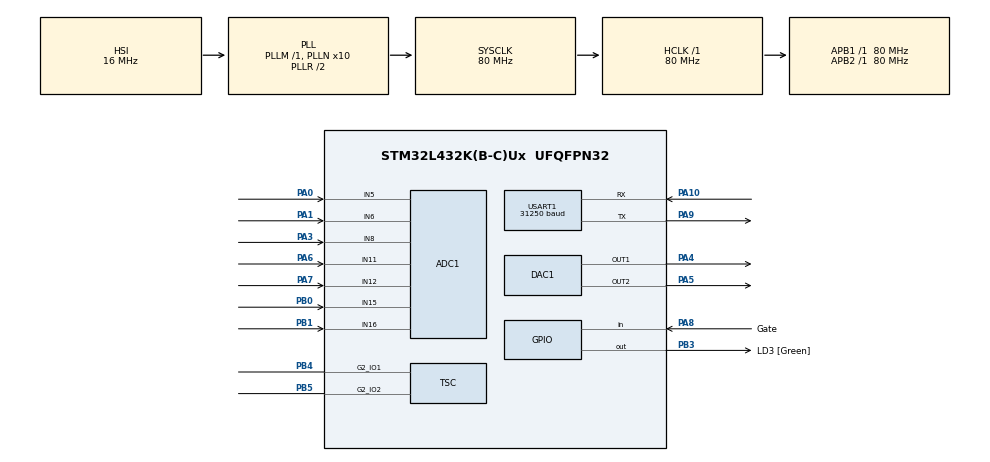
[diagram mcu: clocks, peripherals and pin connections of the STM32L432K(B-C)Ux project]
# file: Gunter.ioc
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ADC1.Channel-0\#ChannelRegularConversion=ADC_CHANNEL_5
ADC1.Channel-1\#ChannelRegularConversion=ADC_CHANNEL_6
ADC1.Channel-2\#ChannelRegularConversion=ADC_CHANNEL_8
ADC1.Channel-3\#ChannelRegularConversion=ADC_CHANNEL_11
ADC1.Channel-4\#ChannelRegularConversion=ADC_CHANNEL_12
ADC1.Channel-5\#ChannelRegularConversion=ADC_CHANNEL_15
ADC1.Channel-6\#ChannelRegularConversion=ADC_CHANNEL_16
ADC1.ClockPrescaler=ADC_CLOCK_ASYNC_DIV1
ADC1.ContinuousConvMode=ENABLE
ADC1.DMAContinuousRequests=ENABLE
ADC1.EOCSelection=ADC_EOC_SEQ_CONV
ADC1.NbrOfConversion=7
ADC1.NbrOfConversionFlag=1
ADC1.OffsetNumber-0\#ChannelRegularConversion=ADC_OFFSET_NONE
ADC1.OffsetNumber-1\#ChannelRegularConversion=ADC_OFFSET_NONE
ADC1.OffsetNumber-2\#ChannelRegularConversion=ADC_OFFSET_NONE
ADC1.OffsetNumber-3\#ChannelRegularConversion=ADC_OFFSET_NONE
ADC1.OffsetNumber-4\#ChannelRegularConversion=ADC_OFFSET_NONE
ADC1.OffsetNumber-5\#ChannelRegularConversion=ADC_OFFSET_NONE
ADC1.OffsetNumber-6\#ChannelRegularConversion=ADC_OFFSET_NONE
ADC1.Overrun=ADC_OVR_DATA_OVERWRITTEN
ADC1.OversamplingMode=ENABLE
ADC1.Rank-0\#ChannelRegularConversion=1
ADC1.Rank-1\#ChannelRegularConversion=2
ADC1.Rank-2\#ChannelRegularConversion=3
ADC1.Rank-3\#ChannelRegularConversion=4
ADC1.Rank-4\#ChannelRegularConversion=5
ADC1.Rank-5\#ChannelRegularConversion=6
ADC1.Rank-6\#ChannelRegularConversion=7
ADC1.Ratio=ADC_OVERSAMPLING_RATIO_256
ADC1.RightBitShift=ADC_RIGHTBITSHIFT_8
ADC1.SamplingTime-0\#ChannelRegularConversion=ADC_SAMPLETIME_640CYCLES_5
ADC1.SamplingTime-1\#ChannelRegularConversion=ADC_SAMPLETIME_640CYCLES_5
ADC1.SamplingTime-2\#ChannelRegularConversion=ADC_SAMPLETIME_640CYCLES_5
ADC1.SamplingTime-3\#ChannelRegularConversion=ADC_SAMPLETIME_640CYCLES_5
ADC1.SamplingTime-4\#ChannelRegularConversion=ADC_SAMPLETIME_640CYCLES_5
ADC1.SamplingTime-5\#ChannelRegularConversion=ADC_SAMPLETIME_640CYCLES_5
ADC1.SamplingTime-6\#ChannelRegularConversion=ADC_SAMPLETIME_640CYCLES_5
ADC1.master=1
DAC1.DAC_Channel-DAC_OUT2=DAC_CHANNEL_2
DAC1.DAC_Trigger-DAC_OUT1=DAC_TRIGGER_T6_TRGO
DAC1.DAC_Trigger-DAC_OUT2=DAC_TRIGGER_T7_TRGO
Dma.ADC1.0.Direction=DMA_PERIPH_TO_MEMORY
Dma.ADC1.0.Instance=DMA1_Channel1
Dma.ADC1.0.MemDataAlignment=DMA_MDATAALIGN_HALFWORD
Dma.ADC1.0.MemInc=DMA_MINC_ENABLE
Dma.ADC1.0.Mode=DMA_CIRCULAR
Dma.ADC1.0.PeriphDataAlignment=DMA_PDATAALIGN_HALFWORD
Dma.ADC1.0.PeriphInc=DMA_PINC_DISABLE
Dma.ADC1.0.Priority=DMA_PRIORITY_LOW
Dma.Request0=ADC1
Mcu.Family=STM32L4
Mcu.Name=STM32L432K(B-C)Ux
Mcu.Package=UFQFPN32
NVIC.ADC1_IRQn=true\:0\:0\:false\:false\:true\:true\:true\:true
NVIC.DMA1_Channel1_IRQn=true\:0\:0\:false\:false\:true\:false\:true\:true
NVIC.PriorityGroup=NVIC_PRIORITYGROUP_4
NVIC.TIM6_DAC_IRQn=true\:0\:0\:false\:false\:true\:true\:true\:true
NVIC.TIM7_IRQn=true\:0\:0\:false\:false\:true\:true\:true\:true
NVIC.USART1_IRQn=true\:0\:0\:false\:false\:true\:true\:true\:true
PA0.Signal=ADCx_IN5
PA1.Signal=ADCx_IN6
PA10.Mode=Asynchronous
PA10.Signal=USART1_RX
PA13\ (JTMS-SWDIO).GPIO_Label=SWDIO
PA13\ (JTMS-SWDIO).Mode=Serial_Wire
PA13\ (JTMS-SWDIO).Signal=SYS_JTMS-SWDIO
PA14\ (JTCK-SWCLK).GPIO_Label=SWCLK
PA14\ (JTCK-SWCLK).Mode=Serial_Wire
PA14\ (JTCK-SWCLK).Signal=SYS_JTCK-SWCLK
PA3.Signal=ADCx_IN8
PA4.Signal=COMP_DAC11_group
PA5.Signal=COMP_DAC12_group
PA6.Signal=ADCx_IN11
PA7.Signal=ADCx_IN12
PA8.GPIO_Label=Gate
PA8.GPIO_PuPd=GPIO_PULLUP
PA8.Signal=GPIO_Input
PA9.Mode=Asynchronous
PA9.Signal=USART1_TX
PB0.Signal=ADCx_IN15
PB1.Signal=ADCx_IN16
PB3\ (JTDO-TRACESWO).GPIO_Label=LD3 [Green]
PB3\ (JTDO-TRACESWO).Signal=GPIO_Output
PB4\ (NJTRST).Mode=G2_IO1-Sampling
PB4\ (NJTRST).Signal=TSC_G2_IO1
PB5.Mode=G2_IO2-Channel
PB5.Signal=TSC_G2_IO2
PC14-OSC32_IN\ (PC14).Mode=LSE-External-Oscillator
PC14-OSC32_IN\ (PC14).Signal=RCC_OSC32_IN
PC15-OSC32_OUT\ (PC15).Mode=LSE-External-Oscillator
PC15-OSC32_OUT\ (PC15).Signal=RCC_OSC32_OUT
ProjectManager.HeapSize=0x200
ProjectManager.StackSize=0x400
ProjectManager.TargetToolchain=STM32CubeIDE
RCC.ADCFreq_Value=48000000
RCC.AHBFreq_Value=80000000
RCC.APB1Freq_Value=80000000
RCC.APB1TimFreq_Value=80000000
RCC.APB2Freq_Value=80000000
RCC.APB2TimFreq_Value=80000000
RCC.CortexFreq_Value=80000000
RCC.HCLKFreq_Value=80000000
RCC.HSE_VALUE=8000000
RCC.HSI16_VALUE=16000000
RCC.HSI48_VALUE=48000000
RCC.HSI_VALUE=16000000
RCC.MSI_VALUE=4000000
RCC.PLLMUL=RCC_PLLMUL_4
RCC.PLLN=10
RCC.PLLSAI1N=12
RCC.PLLSAI1Q=RCC_PLLQ_DIV4
RCC.PLLSAI1R=RCC_PLLR_DIV4
RCC.PLLSourceVirtual=RCC_PLLSOURCE_HSI
RCC.RCC_MCO1Source=RCC_MCO1SOURCE_HSE
RCC.RCC_MCODiv=RCC_MCODIV_16
RCC.SYSCLKFreq_VALUE=80000000
RCC.SYSCLKSource=RCC_SYSCLKSOURCE_PLLCLK
RCC.USBFreq_Value=48000000
RCC.VCOOutputFreq_Value=160000000
SH.ADCx_IN11.0=ADC1_IN11,IN11-Single-Ended
SH.ADCx_IN12.0=ADC1_IN12,IN12-Single-Ended
SH.ADCx_IN15.0=ADC1_IN15,IN15-Single-Ended
SH.ADCx_IN16.0=ADC1_IN16,IN16-Single-Ended
SH.ADCx_IN5.0=ADC1_IN5,IN5-Single-Ended
SH.ADCx_IN6.0=ADC1_IN6,IN6-Single-Ended
SH.ADCx_IN8.0=ADC1_IN8,IN8-Single-Ended
SH.COMP_DAC11_group.0=DAC1_OUT1,DAC_OUT1
SH.COMP_DAC12_group.0=DAC1_OUT2,DAC_OUT2
TIM6.Period=8000
TIM6.TIM_MasterOutputTrigger=TIM_TRGO_UPDATE
TIM7.Period=8000
TIM7.TIM_MasterOutputTrigger=TIM_TRGO_UPDATE
TOUCHSENSING.IO_TOUCHKEY_B1=G2_IO2
TOUCHSENSING.TSLPRM_SENSORS_DATAS=TSLPRM_TOTAL_TOUCHKEYS_B 1 1 
TOUCHSENSING.TSLPRM_TOTAL_TOUCHKEYS_B=1
TSC.ChannelIOs-G2_IO2=TSC_GROUP2_IO2
TSC.SamplingIOs=TSC_GROUP2_IO1
USART1.BaudRate=31250
USART1.VirtualMode-Asynchronous=VM_ASYNC
VP_IWDG_VS_IWDG.Mode=IWDG_Activate
VP_RNG_VS_RNG.Mode=RNG_Activate
VP_TIM6_VS_ClockSourceINT.Mode=Enable_Timer
VP_TIM7_VS_ClockSourceINT.Mode=Enable_Timer
VP_TOUCHSENSING_VS_TOUCHSENSING.Mode=TouchSensing_Enabled
board=NUCLEO-L432KC

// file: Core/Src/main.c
/* USER CODE BEGIN Header */
/**
 ******************************************************************************
 * @file           : main.c
 * @brief          : Main program body
 ******************************************************************************
 * @attention
 *
 * Copyright (c) 2022 STMicroelectronics.
 * All rights reserved.
 *
 * This software is licensed under terms that can be found in the LICENSE file
 * in the root directory of this software component.
 * If no LICENSE file comes with this software, it is provided AS-IS.
 *
 ******************************************************************************
 */
/* USER CODE END Header */
#include "main.h"
#include "touchsensing.h"

/* USER CODE BEGIN Includes */

#include "soundSamples.h"

/* USER CODE END Includes */

/* USER CODE BEGIN PD */

#define GUNTER_SAMPLING_MIN 1667
#define GUNTER_SAMPLING_DEFAULT 833
// 72 MHz / 750 = 96 kHz
// 720 = 100 kHz
// 1440 = 50 kHz

enum gunterStates {
	GUNTER_BOOT,
	GUNTER_OFF,
	GUNTER_WENK,
	GUNTER_SIN,
	GUNTER_SQUARE,
	GUNTER_TRIANGLE,
	GUNTER_SAW,
	GUNTER_NOISE,
	GUNTER_TOUCH,
	GUNTER_MIDI,
	GUNTER_CV,
	GUNTER_GATE
};

enum buttons {
	BUTTON_NONE = 0b00000000,
	BUTTON_B = 0b00000001,
	BUTTON_A = 0b00000010,
	BUTTON_RIGHT = 0b00000100,
	BUTTON_LEFT = 0b00001000,
	BUTTON_DOWN = 0b00010000,
	BUTTON_UP = 0b00100000
};

enum adcNames {
	ADC_KNOB_1 = 0,	// Function
	ADC_KNOB_2 = 1,
	ADC_CV = 2,		// Control Voltage
	ADC_POT_1 = 3,	// Frequency
	ADC_POT_2 = 4,	// Frequency Shift
	ADC_POT_3 = 5,	// Delay
	ADC_POT_4 = 6
};

enum knobInput {
	KNOB_1_MIN = 949,
	KNOB_1_MAX = 2093,
	KNOB_2_MIN = 2094,
	KNOB_2_MAX = 2265,
	KNOB_3_MIN = 2266,
	KNOB_3_MAX = 2468,
	KNOB_4_MIN = 2469,
	KNOB_4_MAX = 2693,
	KNOB_5_MIN = 2711,
	KNOB_5_MAX = 2985,
	KNOB_6_MIN = 3006,
	KNOB_6_MAX = 3340,
	KNOB_7_MIN = 3375,
	KNOB_7_MAX = 3787,
	KNOB_8_MIN = 3833,
	KNOB_8_MAX = 0xfff
};

/* USER CODE END PD */

ADC_HandleTypeDef hadc1;
DMA_HandleTypeDef hdma_adc1;

DAC_HandleTypeDef hdac1;

IWDG_HandleTypeDef hiwdg;

RNG_HandleTypeDef hrng;

TIM_HandleTypeDef htim6;
TIM_HandleTypeDef htim7;

TSC_HandleTypeDef htsc;

UART_HandleTypeDef huart1;

/* USER CODE BEGIN PV */

const uint16_t sinTable[SIN_TABLE] = { SIN_TABLE_CONTENT };
const uint16_t wenkTable[WENK_TABLE] = { WENK_TABLE_CONTENT };

volatile uint16_t adcBuffer[7] = {0, 0, 0, 0, 0, 0, 0};
volatile uint8_t gunterState = GUNTER_OFF;
volatile uint8_t gunterADCReady = 0;
volatile uint32_t gunterSampling[2] = {GUNTER_SAMPLING_MIN, GUNTER_SAMPLING_MIN};
volatile float gunterShift = 1.0f;
volatile int16_t gunterDistortion = 0;
volatile float gunterClipping = 1.0f;
volatile int16_t gunterDiminish = 0;
volatile float gunterPercussion = 1.0f;
volatile int32_t gunterEighth = 0;
volatile int16_t gunterPeriod = 1000;
volatile int16_t gunterSamplePeriod = 1000;
volatile float gunterPeriod1000 = 0xfff / 1000;
volatile float gunterPeriod2000 = 0x1fff / 1000;
volatile uint16_t gunterPeriodShift = 1000;
volatile float gunterPeriodShift1000 = 0xfff / 1000;
volatile float gunterPeriodShift2000 = 0x1fff / 1000;
volatile uint16_t gunterTempPeriod = 1000;
volatile uint16_t gunterDivision = 1;
volatile uint16_t gunterTempDivision = 1;

/* USER CODE END PV */

void SystemClock_Config(void);
void PeriphCommonClock_Config(void);
static void MX_GPIO_Init(void);
static void MX_DMA_Init(void);
static void MX_DAC1_Init(void);
static void MX_ADC1_Init(void);
static void MX_RNG_Init(void);
static void MX_TSC_Init(void);
static void MX_TIM7_Init(void);
static void MX_USART1_UART_Init(void);
static void MX_TIM6_Init(void);
static void MX_IWDG_Init(void);
/* USER CODE BEGIN PFP */

void HAL_TIM_PeriodElapsedCallback(TIM_HandleTypeDef *htim);
void HAL_ADC_ConvCpltCallback(ADC_HandleTypeDef* hadc);

/* USER CODE END PFP */

int main(void)
{
  /* USER CODE BEGIN 1 */
	//HAL_GPIO_WritePin(LD3_GPIO_Port, LD3_Pin, GPIO_PIN_SET);
  /* USER CODE END 1 */

  /* MCU Configuration--------------------------------------------------------*/

  /* Reset of all peripherals, Initializes the Flash interface and the Systick. */
  HAL_Init();

  /* Configure the system clock */
  SystemClock_Config();

/* Configure the peripherals common clocks */
  PeriphCommonClock_Config();

  /* Initialize all configured peripherals */
  MX_GPIO_Init();
  MX_DMA_Init();
  MX_DAC1_Init();
  MX_ADC1_Init();
  MX_RNG_Init();
  MX_TSC_Init();
  MX_TOUCHSENSING_Init();
  MX_TIM7_Init();
  MX_USART1_UART_Init();
  MX_TIM6_Init();
  MX_IWDG_Init();
  /* USER CODE BEGIN 2 */

	//HAL_GPIO_TogglePin(LD3_GPIO_Port, LD3_Pin);
	HAL_DACEx_DualSetValue(&hdac1, DAC_ALIGN_12B_R, 0x000, 0x000);
	HAL_DAC_Start(&hdac1, DAC_CHANNEL_1);
	HAL_DAC_Start(&hdac1, DAC_CHANNEL_2);
	HAL_TIM_Base_Start_IT(&htim6);
	HAL_TIM_Base_Start_IT(&htim7);
	//HAL_GPIO_TogglePin(LD3_GPIO_Port, LD3_Pin);
	HAL_ADC_Start_DMA(&hadc1, adcBuffer, 7);
	//HAL_GPIO_TogglePin(LD3_GPIO_Port, LD3_Pin);

  /* USER CODE END 2 */

  /* Infinite loop */
  /* USER CODE BEGIN WHILE */
	while (1)
	{
		if (gunterADCReady) {
			gunterADCReady = 0;

			HAL_IWDG_Refresh(&hiwdg);

			if (adcBuffer[ADC_KNOB_1] <= KNOB_1_MAX && adcBuffer[ADC_KNOB_1] >= KNOB_1_MIN) {
				gunterState = GUNTER_OFF;
			}
			else if (adcBuffer[ADC_KNOB_1] <= KNOB_2_MAX && adcBuffer[ADC_KNOB_1] >= KNOB_2_MIN) {
				gunterState = GUNTER_WENK;
			}
			else if (adcBuffer[ADC_KNOB_1] <= KNOB_3_MAX && adcBuffer[ADC_KNOB_1] >= KNOB_3_MIN) {
				gunterState = GUNTER_SIN;
			}
			else if (adcBuffer[ADC_KNOB_1] <= KNOB_4_MAX && adcBuffer[ADC_KNOB_1] >= KNOB_4_MIN) {
				gunterState = GUNTER_TRIANGLE;
			}
			else if (adcBuffer[ADC_KNOB_1] <= KNOB_5_MAX && adcBuffer[ADC_KNOB_1] >= KNOB_5_MIN) {
				gunterState = GUNTER_SQUARE;
			}
			else if (adcBuffer[ADC_KNOB_1] <= KNOB_6_MAX && adcBuffer[ADC_KNOB_1] >= KNOB_6_MIN) {
				gunterState = GUNTER_SAW;
			}
			else if (adcBuffer[ADC_KNOB_1] <= KNOB_7_MAX && adcBuffer[ADC_KNOB_1] >= KNOB_7_MIN) {
				gunterState = GUNTER_NOISE;
			}
			else if (adcBuffer[ADC_KNOB_1] <= KNOB_8_MAX && adcBuffer[ADC_KNOB_1] >= KNOB_8_MIN) {
				gunterState = GUNTER_MIDI;
			}

			if (HAL_GPIO_ReadPin(Gate_GPIO_Port, Gate_Pin) == GPIO_PIN_RESET) {
				gunterState = GUNTER_GATE;
			}

			if (adcBuffer[ADC_CV] > 0xeff) {
				gunterPeriod = (0xfc4 - adcBuffer[ADC_POT_1]); // TODO: Skalowanie?
				gunterSamplePeriod = adcBuffer[ADC_POT_1];
			} else {
				gunterPeriod = (0xfc4 - adcBuffer[ADC_POT_1]) - adcBuffer[ADC_CV];
				gunterSamplePeriod = adcBuffer[ADC_POT_1] - adcBuffer[ADC_CV];
			}

			if (gunterPeriod < 3) gunterPeriod = 3;
			if (gunterSamplePeriod < 0) gunterSamplePeriod = 0;
			//gunterPeriod = 2;
			gunterPeriod1000 = 4096.0f / gunterPeriod;
			gunterPeriod2000 = 8192.0f / gunterPeriod;

			if (adcBuffer[ADC_POT_2] > 0x8ff) {
				gunterShift = ((0x10ff - adcBuffer[ADC_POT_2]) / 4096.0f) + 0.5f; // 0.5625 - 1.0
			}
			else if (adcBuffer[ADC_POT_2] < 0x700) {
				gunterShift = ((0xf00 - adcBuffer[ADC_POT_2]) / 4096.0f) + 0.5f; // 1.0 - 1.4375
			}
			else {
				gunterShift = 1.0f;
			}
			//gunterShift = 1.0f;

			gunterPeriodShift = gunterPeriod * gunterShift;
			gunterPeriodShift1000 = 4096.0f / gunterPeriodShift;
			gunterPeriodShift2000 = 8192.0f / gunterPeriodShift;

			if (adcBuffer[ADC_POT_3] > 0x8ff) {
				gunterDistortion = adcBuffer[ADC_POT_3] - 0x8ff;
			}
			else if (adcBuffer[ADC_POT_3] < 0x700) {
				gunterDistortion = adcBuffer[ADC_POT_3] - 0x700;
			}
			else {
				gunterDistortion = 0;
			}
			//gunterDistortion = 0;

			gunterClipping = -(gunterDistortion*0.01f) + 1.0f;

			if (adcBuffer[ADC_POT_4] > 0x8ff) {
				gunterDiminish = adcBuffer[ADC_POT_4] - 0x8ff;
			}
			else if (adcBuffer[ADC_POT_4] < 0x700) {
				gunterDiminish = adcBuffer[ADC_POT_4] - 0x700;
			}
			else {
				gunterDiminish = 0;
			}
			//gunterDiminish = adcBuffer[ADC_POT_2] - 0x7ff;
			if (gunterDiminish < 0) {
				gunterPercussion = 1.0f + (gunterDiminish*0.0000005f);
				gunterEighth = 0;
			}
			else if (gunterDiminish > 0){
				gunterPercussion = 1.0f;
				gunterEighth = (0x6ff - gunterDiminish) << 4;
			}
			else {
				gunterPercussion = 1.0f;
				gunterEighth = 0;
			}

			/*
			 *  BLOK MARGARYNOWY
			 */
			if (gunterState == GUNTER_WENK) {
				if (gunterSamplePeriod > 0x7ff) {
					gunterTempDivision = 1024;
					gunterSampling[0] = (0x800 - (gunterSamplePeriod - 0x7ff)) * (GUNTER_SAMPLING_DEFAULT) * gunterTempDivision;
					gunterSampling[0] /= 0x800;
					while (gunterSampling[0] >= GUNTER_SAMPLING_MIN*2) {
						gunterSampling[0] /= 2;
						gunterTempDivision /= 2;
					}
				} else {
					gunterTempDivision = 2;
					gunterSampling[0] = (GUNTER_SAMPLING_DEFAULT + ((0x7ff - gunterSamplePeriod) * (0x7ff - gunterSamplePeriod) / 256)) * gunterTempDivision;
					if (gunterSampling[0] >= GUNTER_SAMPLING_MIN*2) {
						gunterSampling[0] /= 2;
						gunterTempDivision /= 2;
					}
				}
				gunterSampling[1] = gunterSampling[0] * gunterShift;
			}
			else if (gunterState == GUNTER_SIN) {
				gunterTempDivision = 1024;
				gunterSampling[0] = (0x1000 - gunterSamplePeriod) * GUNTER_SAMPLING_DEFAULT * gunterTempDivision;
				gunterSampling[0] /= 0x5800;
				while (gunterSampling[0] >= GUNTER_SAMPLING_MIN*2) {
					gunterSampling[0] /= 2;
					gunterTempDivision /= 2;
				}
				gunterSampling[1] = gunterSampling[0] * gunterShift;
			} else {
				gunterTempDivision = 1;
				gunterSampling[0] = GUNTER_SAMPLING_MIN;
				gunterSampling[1] = GUNTER_SAMPLING_MIN;
			}

			gunterDivision = gunterTempDivision;
			__HAL_TIM_SET_AUTORELOAD(&htim6, gunterSampling[0]);
			__HAL_TIM_SET_AUTORELOAD(&htim7, gunterSampling[1]);

			//HAL_GPIO_TogglePin(LD3_GPIO_Port, LD3_Pin);
		}

    /* USER CODE END WHILE */

	}
}

void SystemClock_Config(void)
{
  RCC_OscInitTypeDef RCC_OscInitStruct = {0};
  RCC_ClkInitTypeDef RCC_ClkInitStruct = {0};

  /** Configure the main internal regulator output voltage
  */
  if (HAL_PWREx_ControlVoltageScaling(PWR_REGULATOR_VOLTAGE_SCALE1) != HAL_OK)
  {
    Error_Handler();
  }

  /** Initializes the RCC Oscillators according to the specified parameters
  * in the RCC_OscInitTypeDef structure.
  */
  RCC_OscInitStruct.OscillatorType = RCC_OSCILLATORTYPE_HSI|RCC_OSCILLATORTYPE_LSI;
  RCC_OscInitStruct.HSIState = RCC_HSI_ON;
  RCC_OscInitStruct.HSICalibrationValue = RCC_HSICALIBRATION_DEFAULT;
  RCC_OscInitStruct.LSIState = RCC_LSI_ON;
  RCC_OscInitStruct.PLL.PLLState = RCC_PLL_ON;
  RCC_OscInitStruct.PLL.PLLSource = RCC_PLLSOURCE_HSI;
  RCC_OscInitStruct.PLL.PLLM = 1;
  RCC_OscInitStruct.PLL.PLLN = 10;
  RCC_OscInitStruct.PLL.PLLP = RCC_PLLP_DIV7;
  RCC_OscInitStruct.PLL.PLLQ = RCC_PLLQ_DIV2;
  RCC_OscInitStruct.PLL.PLLR = RCC_PLLR_DIV2;
  if (HAL_RCC_OscConfig(&RCC_OscInitStruct) != HAL_OK)
  {
    Error_Handler();
  }

  /** Initializes the CPU, AHB and APB buses clocks
  */
  RCC_ClkInitStruct.ClockType = RCC_CLOCKTYPE_HCLK|RCC_CLOCKTYPE_SYSCLK
                              |RCC_CLOCKTYPE_PCLK1|RCC_CLOCKTYPE_PCLK2;
  RCC_ClkInitStruct.SYSCLKSource = RCC_SYSCLKSOURCE_PLLCLK;
  RCC_ClkInitStruct.AHBCLKDivider = RCC_SYSCLK_DIV1;
  RCC_ClkInitStruct.APB1CLKDivider = RCC_HCLK_DIV1;
  RCC_ClkInitStruct.APB2CLKDivider = RCC_HCLK_DIV1;

  if (HAL_RCC_ClockConfig(&RCC_ClkInitStruct, FLASH_LATENCY_4) != HAL_OK)
  {
    Error_Handler();
  }
}

void PeriphCommonClock_Config(void)
{
  RCC_PeriphCLKInitTypeDef PeriphClkInit = {0};

  /** Initializes the peripherals clock
  */
  PeriphClkInit.PeriphClockSelection = RCC_PERIPHCLK_RNG|RCC_PERIPHCLK_ADC;
  PeriphClkInit.AdcClockSelection = RCC_ADCCLKSOURCE_PLLSAI1;
  PeriphClkInit.RngClockSelection = RCC_RNGCLKSOURCE_PLLSAI1;
  PeriphClkInit.PLLSAI1.PLLSAI1Source = RCC_PLLSOURCE_HSI;
  PeriphClkInit.PLLSAI1.PLLSAI1M = 1;
  PeriphClkInit.PLLSAI1.PLLSAI1N = 12;
  PeriphClkInit.PLLSAI1.PLLSAI1P = RCC_PLLP_DIV7;
  PeriphClkInit.PLLSAI1.PLLSAI1Q = RCC_PLLQ_DIV4;
  PeriphClkInit.PLLSAI1.PLLSAI1R = RCC_PLLR_DIV4;
  PeriphClkInit.PLLSAI1.PLLSAI1ClockOut = RCC_PLLSAI1_48M2CLK|RCC_PLLSAI1_ADC1CLK;
  if (HAL_RCCEx_PeriphCLKConfig(&PeriphClkInit) != HAL_OK)
  {
    Error_Handler();
  }
}

static void MX_ADC1_Init(void)
{

  ADC_ChannelConfTypeDef sConfig = {0};

  /** Common config
  */
  hadc1.Instance = ADC1;
  hadc1.Init.ClockPrescaler = ADC_CLOCK_ASYNC_DIV1;
  hadc1.Init.Resolution = ADC_RESOLUTION_12B;
  hadc1.Init.DataAlign = ADC_DATAALIGN_RIGHT;
  hadc1.Init.ScanConvMode = ADC_SCAN_ENABLE;
  hadc1.Init.EOCSelection = ADC_EOC_SEQ_CONV;
  hadc1.Init.LowPowerAutoWait = DISABLE;
  hadc1.Init.ContinuousConvMode = ENABLE;
  hadc1.Init.NbrOfConversion = 7;
  hadc1.Init.DiscontinuousConvMode = DISABLE;
  hadc1.Init.ExternalTrigConv = ADC_SOFTWARE_START;
  hadc1.Init.ExternalTrigConvEdge = ADC_EXTERNALTRIGCONVEDGE_NONE;
  hadc1.Init.DMAContinuousRequests = ENABLE;
  hadc1.Init.Overrun = ADC_OVR_DATA_OVERWRITTEN;
  hadc1.Init.OversamplingMode = ENABLE;
  hadc1.Init.Oversampling.Ratio = ADC_OVERSAMPLING_RATIO_256;
  hadc1.Init.Oversampling.RightBitShift = ADC_RIGHTBITSHIFT_8;
  hadc1.Init.Oversampling.TriggeredMode = ADC_TRIGGEREDMODE_SINGLE_TRIGGER;
  hadc1.Init.Oversampling.OversamplingStopReset = ADC_REGOVERSAMPLING_CONTINUED_MODE;
  if (HAL_ADC_Init(&hadc1) != HAL_OK)
  {
    Error_Handler();
  }

  /** Configure Regular Channel
  */
  sConfig.Channel = ADC_CHANNEL_5;
  sConfig.Rank = ADC_REGULAR_RANK_1;
  sConfig.SamplingTime = ADC_SAMPLETIME_640CYCLES_5;
  sConfig.SingleDiff = ADC_SINGLE_ENDED;
  sConfig.OffsetNumber = ADC_OFFSET_NONE;
  sConfig.Offset = 0;
  if (HAL_ADC_ConfigChannel(&hadc1, &sConfig) != HAL_OK)
  {
    Error_Handler();
  }

  /** Configure Regular Channel
  */
  sConfig.Channel = ADC_CHANNEL_6;
  sConfig.Rank = ADC_REGULAR_RANK_2;
  if (HAL_ADC_ConfigChannel(&hadc1, &sConfig) != HAL_OK)
  {
    Error_Handler();
  }

  /** Configure Regular Channel
  */
  sConfig.Channel = ADC_CHANNEL_8;
  sConfig.Rank = ADC_REGULAR_RANK_3;
  if (HAL_ADC_ConfigChannel(&hadc1, &sConfig) != HAL_OK)
  {
    Error_Handler();
  }

  /** Configure Regular Channel
  */
  sConfig.Channel = ADC_CHANNEL_11;
  sConfig.Rank = ADC_REGULAR_RANK_4;
  if (HAL_ADC_ConfigChannel(&hadc1, &sConfig) != HAL_OK)
  {
    Error_Handler();
  }

  /** Configure Regular Channel
  */
  sConfig.Channel = ADC_CHANNEL_12;
  sConfig.Rank = ADC_REGULAR_RANK_5;
  if (HAL_ADC_ConfigChannel(&hadc1, &sConfig) != HAL_OK)
  {
    Error_Handler();
  }

  /** Configure Regular Channel
  */
  sConfig.Channel = ADC_CHANNEL_15;
  sConfig.Rank = ADC_REGULAR_RANK_6;
  if (HAL_ADC_ConfigChannel(&hadc1, &sConfig) != HAL_OK)
  {
    Error_Handler();
  }

  /** Configure Regular Channel
  */
  sConfig.Channel = ADC_CHANNEL_16;
  sConfig.Rank = ADC_REGULAR_RANK_7;
  if (HAL_ADC_ConfigChannel(&hadc1, &sConfig) != HAL_OK)
  {
    Error_Handler();
  }

}

static void MX_DAC1_Init(void)
{

  DAC_ChannelConfTypeDef sConfig = {0};

  /** DAC Initialization
  */
  hdac1.Instance = DAC1;
  if (HAL_DAC_Init(&hdac1) != HAL_OK)
  {
    Error_Handler();
  }

  /** DAC channel OUT1 config
  */
  sConfig.DAC_SampleAndHold = DAC_SAMPLEANDHOLD_DISABLE;
  sConfig.DAC_Trigger = DAC_TRIGGER_T6_TRGO;
  sConfig.DAC_OutputBuffer = DAC_OUTPUTBUFFER_ENABLE;
  sConfig.DAC_ConnectOnChipPeripheral = DAC_CHIPCONNECT_DISABLE;
  sConfig.DAC_UserTrimming = DAC_TRIMMING_FACTORY;
  if (HAL_DAC_ConfigChannel(&hdac1, &sConfig, DAC_CHANNEL_1) != HAL_OK)
  {
    Error_Handler();
  }

  /** DAC channel OUT2 config
  */
  sConfig.DAC_Trigger = DAC_TRIGGER_T7_TRGO;
  if (HAL_DAC_ConfigChannel(&hdac1, &sConfig, DAC_CHANNEL_2) != HAL_OK)
  {
    Error_Handler();
  }

}

static void MX_IWDG_Init(void)
{

  hiwdg.Instance = IWDG;
  hiwdg.Init.Prescaler = IWDG_PRESCALER_4;
  hiwdg.Init.Window = 4095;
  hiwdg.Init.Reload = 4095;
  if (HAL_IWDG_Init(&hiwdg) != HAL_OK)
  {
    Error_Handler();
  }

}

static void MX_RNG_Init(void)
{

  hrng.Instance = RNG;
  if (HAL_RNG_Init(&hrng) != HAL_OK)
  {
    Error_Handler();
  }

}

static void MX_TIM6_Init(void)
{

  TIM_MasterConfigTypeDef sMasterConfig = {0};

  htim6.Instance = TIM6;
  htim6.Init.Prescaler = 0;
  htim6.Init.CounterMode = TIM_COUNTERMODE_UP;
  htim6.Init.Period = 8000;
  htim6.Init.AutoReloadPreload = TIM_AUTORELOAD_PRELOAD_DISABLE;
  if (HAL_TIM_Base_Init(&htim6) != HAL_OK)
  {
    Error_Handler();
  }
  sMasterConfig.MasterOutputTrigger = TIM_TRGO_UPDATE;
  sMasterConfig.MasterSlaveMode = TIM_MASTERSLAVEMODE_DISABLE;
  if (HAL_TIMEx_MasterConfigSynchronization(&htim6, &sMasterConfig) != HAL_OK)
  {
    Error_Handler();
  }

}

static void MX_TIM7_Init(void)
{

  TIM_MasterConfigTypeDef sMasterConfig = {0};

  htim7.Instance = TIM7;
  htim7.Init.Prescaler = 0;
  htim7.Init.CounterMode = TIM_COUNTERMODE_UP;
  htim7.Init.Period = 8000;
  htim7.Init.AutoReloadPreload = TIM_AUTORELOAD_PRELOAD_DISABLE;
  if (HAL_TIM_Base_Init(&htim7) != HAL_OK)
  {
    Error_Handler();
  }
  sMasterConfig.MasterOutputTrigger = TIM_TRGO_UPDATE;
  sMasterConfig.MasterSlaveMode = TIM_MASTERSLAVEMODE_DISABLE;
  if (HAL_TIMEx_MasterConfigSynchronization(&htim7, &sMasterConfig) != HAL_OK)
  {
    Error_Handler();
  }

}

static void MX_TSC_Init(void)
{

  /** Configure the TSC peripheral
  */
  htsc.Instance = TSC;
  htsc.Init.CTPulseHighLength = TSC_CTPH_2CYCLES;
  htsc.Init.CTPulseLowLength = TSC_CTPL_2CYCLES;
  htsc.Init.SpreadSpectrum = DISABLE;
  htsc.Init.SpreadSpectrumDeviation = 1;
  htsc.Init.SpreadSpectrumPrescaler = TSC_SS_PRESC_DIV1;
  htsc.Init.PulseGeneratorPrescaler = TSC_PG_PRESC_DIV4;
  htsc.Init.MaxCountValue = TSC_MCV_8191;
  htsc.Init.IODefaultMode = TSC_IODEF_OUT_PP_LOW;
  htsc.Init.SynchroPinPolarity = TSC_SYNC_POLARITY_FALLING;
  htsc.Init.AcquisitionMode = TSC_ACQ_MODE_NORMAL;
  htsc.Init.MaxCountInterrupt = DISABLE;
  htsc.Init.ChannelIOs = TSC_GROUP2_IO2;
  htsc.Init.ShieldIOs = 0;
  htsc.Init.SamplingIOs = TSC_GROUP2_IO1;
  if (HAL_TSC_Init(&htsc) != HAL_OK)
  {
    Error_Handler();
  }

}

static void MX_USART1_UART_Init(void)
{

  huart1.Instance = USART1;
  huart1.Init.BaudRate = 31250;
  huart1.Init.WordLength = UART_WORDLENGTH_8B;
  huart1.Init.StopBits = UART_STOPBITS_1;
  huart1.Init.Parity = UART_PARITY_NONE;
  huart1.Init.Mode = UART_MODE_TX_RX;
  huart1.Init.HwFlowCtl = UART_HWCONTROL_NONE;
  huart1.Init.OverSampling = UART_OVERSAMPLING_16;
  huart1.Init.OneBitSampling = UART_ONE_BIT_SAMPLE_DISABLE;
  huart1.AdvancedInit.AdvFeatureInit = UART_ADVFEATURE_NO_INIT;
  if (HAL_UART_Init(&huart1) != HAL_OK)
  {
    Error_Handler();
  }

}

static void MX_DMA_Init(void)
{

  /* DMA controller clock enable */
  __HAL_RCC_DMA1_CLK_ENABLE();

  /* DMA interrupt init */
  /* DMA1_Channel1_IRQn interrupt configuration */
  HAL_NVIC_SetPriority(DMA1_Channel1_IRQn, 0, 0);
  HAL_NVIC_EnableIRQ(DMA1_Channel1_IRQn);

}

static void MX_GPIO_Init(void)
{
  GPIO_InitTypeDef GPIO_InitStruct = {0};

  /* GPIO Ports Clock Enable */
  __HAL_RCC_GPIOC_CLK_ENABLE();
  __HAL_RCC_GPIOA_CLK_ENABLE();
  __HAL_RCC_GPIOB_CLK_ENABLE();

  /*Configure GPIO pin Output Level */
  HAL_GPIO_WritePin(LD3_GPIO_Port, LD3_Pin, GPIO_PIN_RESET);

  /*Configure GPIO pin : Gate_Pin */
  GPIO_InitStruct.Pin = Gate_Pin;
  GPIO_InitStruct.Mode = GPIO_MODE_INPUT;
  GPIO_InitStruct.Pull = GPIO_PULLUP;
  HAL_GPIO_Init(Gate_GPIO_Port, &GPIO_InitStruct);

  /*Configure GPIO pin : LD3_Pin */
  GPIO_InitStruct.Pin = LD3_Pin;
  GPIO_InitStruct.Mode = GPIO_MODE_OUTPUT_PP;
  GPIO_InitStruct.Pull = GPIO_NOPULL;
  GPIO_InitStruct.Speed = GPIO_SPEED_FREQ_LOW;
  HAL_GPIO_Init(LD3_GPIO_Port, &GPIO_InitStruct);

}

/* USER CODE BEGIN 4 */

void HAL_TIM_PeriodElapsedCallback(TIM_HandleTypeDef *htim) { // 96 kHz
	static uint16_t currentSample[2] = {0, 0};
	static uint16_t currentDistortion[2] = {0, 0};
	static uint32_t currentNoise[2] = {1, 1};
	static uint32_t currentEighth[2] = {0, 0};
	static float currentVolume[2] = {1.0f, 1.0f};
	int16_t temp[2] = {0, 0};

	if (htim == &htim6) {
		//HAL_GPIO_WritePin(LD3_GPIO_Port, LD3_Pin, GPIO_PIN_SET);

		if (gunterState == GUNTER_TRIANGLE) {
			if (currentSample[0] >= (gunterPeriod)) currentSample[0] = 0;
			if (currentSample[0] <= (gunterPeriod / 2)) {
				temp[0] = currentSample[0] * gunterPeriod2000;
			} else {
				temp[0] = 0x1fff - (currentSample[0] * gunterPeriod2000);
			}
		}

		else if (gunterState == GUNTER_SAW) {
			if (currentSample[0] >= gunterPeriod) currentSample[0] = 0;
			temp[0] = (gunterPeriod - currentSample[0]) * gunterPeriod1000;
		}

		else if (gunterState == GUNTER_NOISE) {
			if (currentSample[0] >= gunterPeriod) {
				currentSample[0] = 0;
			}
			if (currentSample[0] == 0) {
				currentNoise[0] = (214013 * currentNoise[0] + 2531011);
			}
			temp[0] = currentNoise[0] & 0xfff;
		}

		else if (gunterState == GUNTER_SQUARE) {
			if (currentSample[0] >= gunterPeriod) currentSample[0] = 0;
			if (currentSample[0] >= (gunterPeriod / 2)) {
				temp[0] = 0x000;
			} else {
				temp[0] = 0xfff;
			}
		}

		else if (gunterState == GUNTER_WENK) {
			if (currentSample[0] >= WENK_TABLE) currentSample[0] = 0;
			temp[0] = wenkTable[currentSample[0]];
		}

		else if (gunterState == GUNTER_SIN) {
			if (currentSample[0] >= SIN_TABLE) currentSample[0] = 0;
			temp[0] = sinTable[currentSample[0]];
		}

		else if (gunterState == GUNTER_OFF || gunterState == GUNTER_GATE) {
			currentSample[0] = 0;
			temp[0] = 0;
			currentVolume[0] = 0.0f;
			currentDistortion[0] = 0;
			currentNoise[0] = 0;
			currentEighth[0] = 0;
		}

		currentSample[0] += gunterDivision;

		temp[0] -= 0x7ff;

		if (gunterDistortion < 0) {
			temp[0] *= gunterClipping;
		}
		if (temp[0] > 0x7ff) temp[0] = 0x7ff;
		else if (temp[0] < -0x7ff) temp[0] = -0x7ff;

		temp[0] *= currentVolume[0];

		currentEighth[0]++;
		if (currentEighth[0] >= gunterEighth) currentEighth[0] = 0;
		if (currentEighth[0] > (gunterEighth >> 2)) temp[0] = 0;

		temp[0] += 0x7ff;

		if (gunterPercussion == 1.0f || currentVolume[0] < 0.1f) {
			currentVolume[0] = 1.0f;
		} else {
			currentVolume[0] *= gunterPercussion;
		}

		if (currentDistortion[0] > 0) {
			currentDistortion[0]--;
		} else {
			HAL_DAC_SetValue(&hdac1, DAC_CHANNEL_1, DAC_ALIGN_12B_R, temp[0]);
			if (gunterDistortion > 0) {
				currentDistortion[0] = gunterDistortion >> 3;
			}
		}
	}

	else if (htim == &htim7) {
		//HAL_GPIO_WritePin(LD3_GPIO_Port, LD3_Pin, GPIO_PIN_RESET);

		if (gunterState == GUNTER_TRIANGLE) {
			if (currentSample[1] >= gunterPeriodShift) currentSample[1] = 0;
			if (currentSample[1] <= (gunterPeriodShift / 2)) {
				temp[1] = currentSample[1] * gunterPeriodShift2000;
			} else {
				temp[1] = 0x1fff - (currentSample[1] * gunterPeriodShift2000);
			}
		}

		else if (gunterState == GUNTER_SAW) {
			if (currentSample[1] >= gunterPeriodShift) currentSample[1] = 0;
			temp[1] = (gunterPeriodShift - currentSample[1]) * gunterPeriodShift1000;
		}

		else if (gunterState == GUNTER_NOISE) {
			if (currentSample[1] >= gunterPeriodShift) {
				currentSample[1] = 0;
			}
			if (currentSample[1] == 0) {
				currentNoise[1] = (214013 * currentNoise[1] + 2531011);
			}
			temp[1] = currentNoise[1] & 0xfff;
		}

		else if (gunterState == GUNTER_SQUARE) {
			if (currentSample[1] >= gunterPeriodShift) currentSample[1] = 0;
			if (currentSample[1] >= (gunterPeriodShift / 2)) {
				temp[1] = 0x000;
			} else {
				temp[1] = 0xfff;
			}
		}

		else if (gunterState == GUNTER_WENK) {
			if (currentSample[1] >= WENK_TABLE) currentSample[1] = 0;
			temp[1] = wenkTable[currentSample[1]];
		}

		else if (gunterState == GUNTER_SIN) {
			if (currentSample[1] >= SIN_TABLE) currentSample[1] = 0;
			temp[1] = sinTable[currentSample[1]];
		}

		else if (gunterState == GUNTER_OFF || gunterState == GUNTER_GATE) {
			currentSample[1] = 0;
			temp[1] = 0;
			currentVolume[1] = 0.0f;
			currentDistortion[1] = 0;
			currentNoise[1] = 0;
			currentEighth[1] = 0;
		}

		currentSample[1] += gunterDivision;

		temp[1] -= 0x7ff;

		if (gunterDistortion < 0) {
			temp[1] *= gunterClipping;
		}
		if (temp[1] > 0x7ff) temp[1] = 0x7ff;
		else if (temp[1] < -0x7ff) temp[1] = -0x7ff;

		temp[1] *= currentVolume[1];

		currentEighth[1]++;
		if (currentEighth[1] >= gunterEighth) currentEighth[1] = 0;
		if (currentEighth[1] > (gunterEighth >> 2)) temp[1] = 0;

		temp[1] += 0x7ff;

		if (gunterPercussion == 1.0f || currentVolume[1] < 0.1f) {
			currentVolume[1] = 1.0f;
		} else {
			currentVolume[1] *= gunterPercussion;
		}

		if (currentDistortion[1] > 0) {
			currentDistortion[1]--;
		} else {
			HAL_DAC_SetValue(&hdac1, DAC_CHANNEL_2, DAC_ALIGN_12B_R, temp[1]);
			if (gunterDistortion > 0) {
				currentDistortion[1] = gunterDistortion >> 3;
			}
		}
	}
}

void HAL_ADC_ConvCpltCallback(ADC_HandleTypeDef* hadc) {
	/*static uint32_t randomNumberBuffer = 0;
	static uint8_t randomShift = 0;
	static uint8_t randomBitsBuffer = 0;*/

	gunterADCReady = 1;

	//HAL_GPIO_TogglePin(LD3_GPIO_Port, LD3_Pin);

	/*if (adcBuffer[ADC_KNOB_2] & 1) {
		randomNumberBuffer |= 1 << randomShift;
		randomBitsBuffer++;
	}
	randomShift++;

	if (randomShift > 31) {
		randomNumberBuffer = 0;
		randomShift = 0;
		randomBitsBuffer = 0;
	}*/
}

/* USER CODE END 4 */

void Error_Handler(void)
{
	__disable_irq();
	while (1)
	{
	}
}
